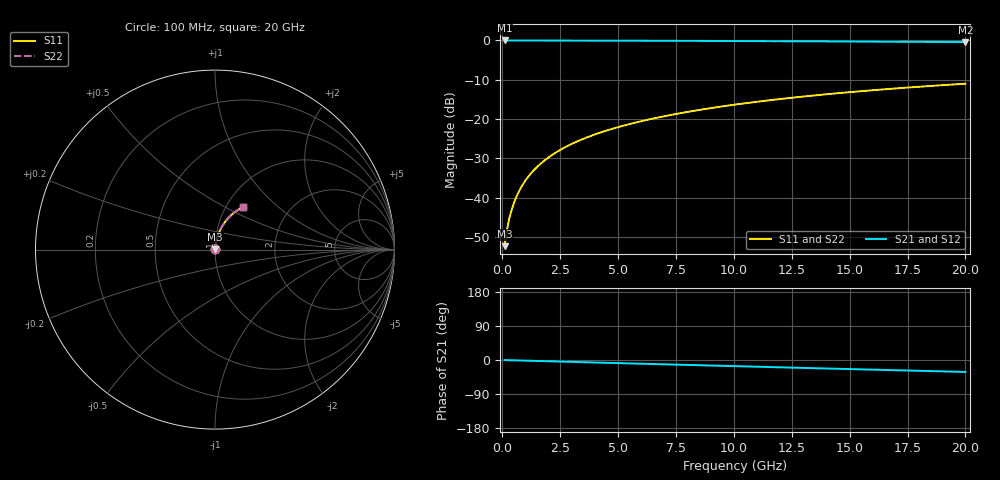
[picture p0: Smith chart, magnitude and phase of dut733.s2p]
! Touchstone file exported from HFSS 2026.1.0
!  File:  C:/ffzhzh/LocalFiles/Ansys_Project_Files/temp_train_TMRDL_733_1783154964_55132.aedt
!  Generated:  04:50:36 PM Jul  4, 2026
!  Design:  TMRDL
!  Project:  temp_train_TMRDL_733_1783154964_55132
! Variables:
!  h_bsmrdl = 2um
!  h_ox = 20um
!  h_rdl = 5um
!  h_sub = 80um
!  h_tmrdl = 5.49um
!  h_tsv = 80um
!  h_via = 3um
!  l_bsmrdl = 300um
!  l_sub = 860.25um
!  l_tmrdl = 460.25um
!  m_sub = 200um
!  pitch = 44.3um
!  r_tsv = 6um
!  s_tmrdl = 10um
!  w_bsmrdl = 18um
!  w_sub = 500um
!  w_tmrdl = 19.91um
!  x_tsv_center1 = 470.205um
!  x_tsv_center2 = 788.205um
!  x_tsv_center3 = 1268.365um
!  x_tsv_center4 = 1586.365um
!  x_tsv_center5 = 2066.525um
!  x_tsv_center6 = 2384.525um
# GHz S MA R 50.000000
! Terminal data exported
! Port[1] = TM_RDL1_1_T1
! Port[2] = TM_RDL1_1_T2
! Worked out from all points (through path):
!   200 points, 100 MHz to 20 GHz, reference 50 ohm
!   highest |S21| = -0.01 dB at 100 MHz (marker M1); lowest = -0.4 dB at 20 GHz (marker M2)
!   group delay of S21, straight-line fit = 4.37 ps
!   lowest |S11| = -52.4 dB at 100 MHz (marker M3), VSWR 1.00, Z = 50.2 + j0.176 ohm
!   |S11| at or under -10 dB: start of sweep to end of sweep
!   |S22| runs from -52.4 to -11.0 dB; largest |S21 - S12| = 2.7e-15
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0.1  0.002402 47.0  0.9984 -0.2  0.9984 -0.2  0.002402 47.0
! Gamma 0 0 0 0
! Port Impedance 50 0 50 0
0.2  0.003848 62.8  0.9983 -0.3  0.9983 -0.3  0.003848 62.8
0.3  0.005371 69.7  0.9982 -0.5  0.9982 -0.5  0.005371 69.7
0.4  0.006922 73.6  0.9981 -0.7  0.9981 -0.7  0.006922 73.6
0.5  0.008491 76.1  0.9981 -0.8  0.9981 -0.8  0.008491 76.1
0.6  0.01007 77.8  0.998 -1.0  0.998 -1.0  0.01007 77.8
0.8  0.01326 79.9  0.9979 -1.3  0.9979 -1.3  0.01326 79.9
1.1  0.01806 81.4  0.9977 -1.9  0.9977 -1.9  0.01806 81.4
1.3  0.02127 81.8  0.9976 -2.2  0.9976 -2.2  0.02127 81.8
1.5  0.02447 82.1  0.9974 -2.5  0.9974 -2.5  0.02447 82.1
1.8  0.02925 82.1  0.9971 -3.0  0.9971 -3.0  0.02925 82.1
2.1  0.03401 82.0  0.9968 -3.5  0.9968 -3.5  0.03401 82.0
2.7  0.04344 81.5  0.996 -4.5  0.996 -4.5  0.04344 81.5
3.5  0.05586 80.6  0.9949 -5.8  0.9949 -5.8  0.05586 80.6
4.2  0.06657 79.7  0.9938 -7.0  0.9938 -7.0  0.06657 79.6
5  0.07867 78.6  0.9925 -8.2  0.9925 -8.2  0.07867 78.5
6.8  0.1054 76.0  0.9892 -11.1  0.9892 -11.1  0.1054 76.0
8.3  0.1273 73.8  0.986 -13.5  0.986 -13.5  0.1273 73.8
10.1  0.153 71.2  0.9818 -16.4  0.9818 -16.4  0.153 71.2
13.4  0.1983 66.4  0.9728 -21.5  0.9728 -21.5  0.1983 66.4
16.7  0.2411 61.6  0.9625 -26.6  0.9625 -26.6  0.2411 61.5
20  0.281 56.8  0.9512 -31.5  0.9512 -31.5  0.281 56.8
